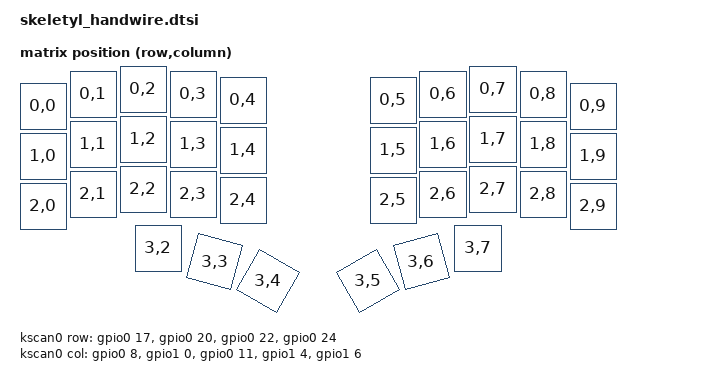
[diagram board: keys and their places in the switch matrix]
/*
 * Skeletyl 36 — handwired, 2x nice!nano (nRF52840), BLE split, no TRRS.
 *
 * Shared between skeletyl_handwire_left and skeletyl_handwire_right.
 * Both halves are wired identically as a local 4x5 matrix; the right half
 * shifts itself into the upper half of the logical matrix via `col-offset`
 * in skeletyl_handwire_right.overlay.
 *
 * SPDX-License-Identifier: MIT
 */

#include <dt-bindings/zmk/matrix_transform.h>
#include <physical_layouts.dtsi>

/ {
    chosen {
        zmk,kscan = &kscan0;
        zmk,physical-layout = &physical_layout0;
    };

    /*
     * Local 4x5 matrix, identical on both halves.
     *
     * Diodes are wired COLUMN -> SWITCH -> DIODE -> ROW with the black
     * band (cathode) facing the ROW, which is `col2row`.
     *
     * For col2row the columns are driven outputs and the rows are sampled
     * inputs, so the rows carry the pull-downs.
     *
     * Pins are nRF52840 GPIOs, which on a nice!nano are the contiguous
     * D0 and D2..D9 pads:
     *
     *   R0  P0.17  = D2        C0  P0.08  = D0/RX
     *   R1  P0.20  = D3        C1  P1.00  = D6
     *   R2  P0.22  = D4        C2  P0.11  = D7
     *   R3  P0.24  = D5        C3  P1.04  = D8
     *   (R3 is the thumb row)  C4  P1.06  = D9
     */
    kscan0: kscan0 {
        compatible = "zmk,kscan-gpio-matrix";
        diode-direction = "col2row";
        wakeup-source;

        /* Orange row wires — sampled inputs */
        row-gpios
            = <&gpio0 17 (GPIO_ACTIVE_HIGH | GPIO_PULL_DOWN)>
            , <&gpio0 20 (GPIO_ACTIVE_HIGH | GPIO_PULL_DOWN)>
            , <&gpio0 22 (GPIO_ACTIVE_HIGH | GPIO_PULL_DOWN)>
            , <&gpio0 24 (GPIO_ACTIVE_HIGH | GPIO_PULL_DOWN)>
            ;

        /* Black column wires — driven outputs */
        col-gpios
            = <&gpio0  8 GPIO_ACTIVE_HIGH>
            , <&gpio1  0 GPIO_ACTIVE_HIGH>
            , <&gpio0 11 GPIO_ACTIVE_HIGH>
            , <&gpio1  4 GPIO_ACTIVE_HIGH>
            , <&gpio1  6 GPIO_ACTIVE_HIGH>
            ;
    };

    /*
     * Logical split matrix: 4 rows x 10 columns.
     *
     * Left half occupies global columns 0-4, right half 5-9
     * (right overlay sets col-offset = <5>).
     *
     * Physical columns are numbered left-to-right on each half, so:
     *   left   C0 = far-left  (pinky)   ... C4 = far-right (index reach)
     *   right  C0 = far-left  (index reach) ... C4 = far-right (pinky)
     *
     * Thumbs live on row 3 and only occupy the three innermost columns
     * of each half:
     *   left  thumbs = C2, C3, C4   -> global cols 2, 3, 4
     *   right thumbs = C0, C1, C2   -> global cols 5, 6, 7
     *
     * RC(3,0), RC(3,1), RC(3,8) and RC(3,9) are intentionally absent —
     * no switch is wired at those intersections.
     *
     * 10 + 10 + 10 + 6 = 36 positions, each used exactly once.
     */
    default_transform: keymap_transform0 {
        compatible = "zmk,matrix-transform";
        rows = <4>;
        columns = <10>;

        map = <
            RC(0,0) RC(0,1) RC(0,2) RC(0,3) RC(0,4)   RC(0,5) RC(0,6) RC(0,7) RC(0,8) RC(0,9)
            RC(1,0) RC(1,1) RC(1,2) RC(1,3) RC(1,4)   RC(1,5) RC(1,6) RC(1,7) RC(1,8) RC(1,9)
            RC(2,0) RC(2,1) RC(2,2) RC(2,3) RC(2,4)   RC(2,5) RC(2,6) RC(2,7) RC(2,8) RC(2,9)
                            RC(3,2) RC(3,3) RC(3,4)   RC(3,5) RC(3,6) RC(3,7)
        >;
    };

    /*
     * Physical key positions, in the same order as `default_transform`'s map.
     * Units are 1/100 of a 1u key. Column stagger mirrors the Skeletyl's
     * splay (middle column highest, pinky lowest) and the thumb cluster is
     * rotated inward.
     *
     * This block is cosmetic: it only drives how the layout is drawn in
     * ZMK Studio / Keymap Editor. It has no effect on scanning or on which
     * physical switch maps to which keymap position.
     */
    physical_layout0: physical_layout_0 {
        compatible = "zmk,physical-layout";
        display-name = "Skeletyl 36";
        kscan = <&kscan0>;
        transform = <&default_transform>;

        keys  //                     w    h     x     y    rot     rx    ry
            = <&key_physical_attrs 100 100     0    34      0      0     0>
            , <&key_physical_attrs 100 100   100    10      0      0     0>
            , <&key_physical_attrs 100 100   200     0      0      0     0>
            , <&key_physical_attrs 100 100   300    10      0      0     0>
            , <&key_physical_attrs 100 100   400    22      0      0     0>
            , <&key_physical_attrs 100 100   700    22      0      0     0>
            , <&key_physical_attrs 100 100   800    10      0      0     0>
            , <&key_physical_attrs 100 100   900     0      0      0     0>
            , <&key_physical_attrs 100 100  1000    10      0      0     0>
            , <&key_physical_attrs 100 100  1100    34      0      0     0>
            , <&key_physical_attrs 100 100     0   134      0      0     0>
            , <&key_physical_attrs 100 100   100   110      0      0     0>
            , <&key_physical_attrs 100 100   200   100      0      0     0>
            , <&key_physical_attrs 100 100   300   110      0      0     0>
            , <&key_physical_attrs 100 100   400   122      0      0     0>
            , <&key_physical_attrs 100 100   700   122      0      0     0>
            , <&key_physical_attrs 100 100   800   110      0      0     0>
            , <&key_physical_attrs 100 100   900   100      0      0     0>
            , <&key_physical_attrs 100 100  1000   110      0      0     0>
            , <&key_physical_attrs 100 100  1100   134      0      0     0>
            , <&key_physical_attrs 100 100     0   234      0      0     0>
            , <&key_physical_attrs 100 100   100   210      0      0     0>
            , <&key_physical_attrs 100 100   200   200      0      0     0>
            , <&key_physical_attrs 100 100   300   210      0      0     0>
            , <&key_physical_attrs 100 100   400   222      0      0     0>
            , <&key_physical_attrs 100 100   700   222      0      0     0>
            , <&key_physical_attrs 100 100   800   210      0      0     0>
            , <&key_physical_attrs 100 100   900   200      0      0     0>
            , <&key_physical_attrs 100 100  1000   210      0      0     0>
            , <&key_physical_attrs 100 100  1100   234      0      0     0>
            /* left thumbs: outer -> inner */
            , <&key_physical_attrs 100 100   230   318      0      0     0>
            , <&key_physical_attrs 100 100   332   330   1500    332   430>
            , <&key_physical_attrs 100 100   432   352   3000    432   452>
            /* right thumbs: inner -> outer */
            , <&key_physical_attrs 100 100   668   352 (-3000)   768   452>
            , <&key_physical_attrs 100 100   768   330 (-1500)   868   430>
            , <&key_physical_attrs 100 100   870   318      0      0     0>
            ;
    };
};
